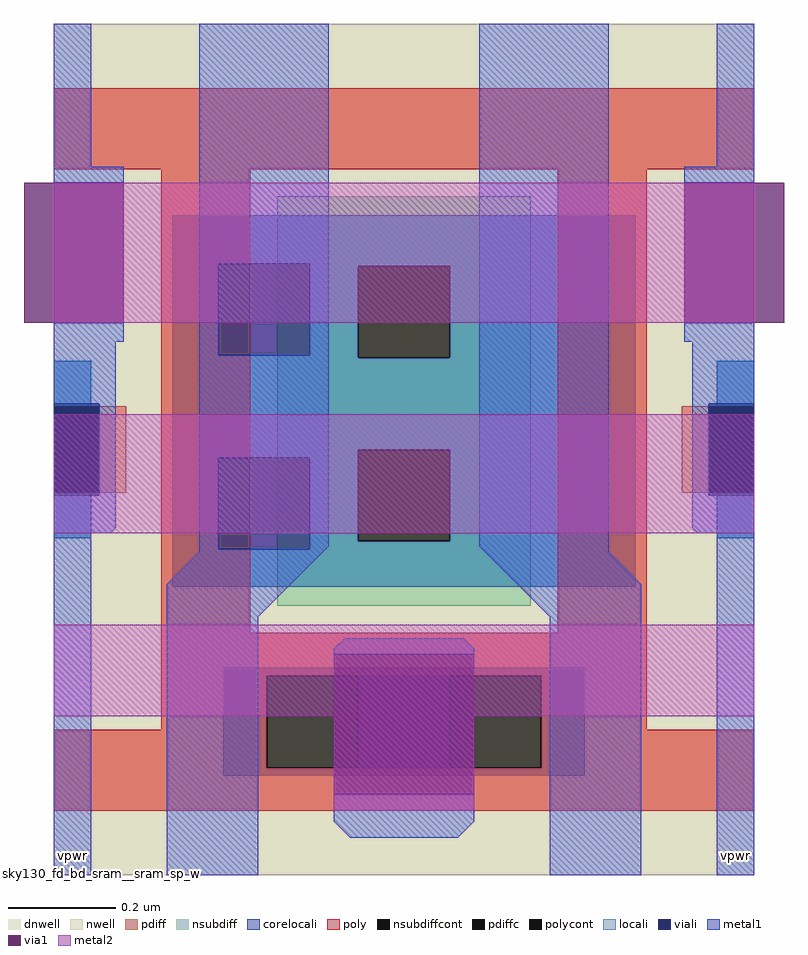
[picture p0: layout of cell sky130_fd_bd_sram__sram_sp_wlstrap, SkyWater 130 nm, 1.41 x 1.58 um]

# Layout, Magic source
magic
tech sky130A
magscale 1 2
<< pdiffc >>
rect 14 142 17 174
rect 243 142 246 174
<< locali >>
rect 0 174 14 175
rect 246 174 260 175
rect 0 141 14 142
rect 246 141 260 142
<< metal1 >>
rect 0 0 14 15
rect 246 0 260 15
use sky130_fd_bd_sram__sram_sp_wlstrap_p1m_siz  sky130_fd_bd_sram__sram_sp_wlstrap_p1m_siz_0
transform 1 0 0 0 1 0
box 0 0 1 1
use sky130_fd_bd_sram__sram_sp_wlstrap_met2  sky130_fd_bd_sram__sram_sp_wlstrap_met2_0
transform 1 0 0 0 1 0
box 0 24 260 257
use sky130_fd_bd_sram__sram_sp_wlstrap_ce  sky130_fd_bd_sram__sram_sp_wlstrap_ce_0
transform 1 0 0 0 1 0
box -11 0 271 316
<< labels >>
flabel metal1 s 0 0 14 15 0 FreeSans 40 90 0 0 vpwr
port 0 nsew
flabel metal1 s 246 0 260 15 0 FreeSans 40 90 0 0 vpwr
port 0 nsew
<< properties >>
string GDS_FILE sky130_fd_bd_sram__sram_sp_wlstrap.gds
string GDS_END 4574
string GDS_START 4098
<< end >>

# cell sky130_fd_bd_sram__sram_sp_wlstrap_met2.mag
magic
tech sky130A
magscale 1 2
<< metal2 >>
rect 0 205 260 257
rect 0 127 260 171
rect 0 59 260 93
rect 104 24 156 59
<< properties >>
string GDS_FILE sky130_fd_bd_sram__sram_sp_wlstrap_met2.gds
string GDS_END 430
string GDS_START 170
<< end >>

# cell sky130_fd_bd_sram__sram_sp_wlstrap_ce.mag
magic
tech sky130A
magscale 1 2
<< dnwell >>
rect 0 0 260 316
<< nwell >>
rect 0 0 260 316
<< pdiff >>
rect 14 142 27 174
rect 233 142 246 174
<< pdiffc >>
rect 0 142 14 174
rect 246 142 260 174
<< nsubdiff >>
rect 83 226 177 252
rect 83 192 113 226
rect 147 192 177 226
rect 83 158 177 192
rect 83 124 113 158
rect 147 124 177 158
rect 83 100 177 124
<< nsubdiffcont >>
rect 113 192 147 226
rect 113 124 147 158
<< poly >>
rect 0 262 260 292
rect 40 90 73 262
rect 187 90 220 262
rect 40 74 220 90
rect 40 54 79 74
rect 0 40 79 54
rect 113 40 147 74
rect 181 54 220 74
rect 181 40 260 54
rect 0 24 260 40
<< polycont >>
rect 79 40 113 74
rect 147 40 181 74
<< corelocali >>
rect 44 227 216 245
rect 44 193 61 227
rect 95 226 216 227
rect 95 193 113 226
rect 44 192 113 193
rect 147 192 216 226
rect 0 175 14 191
rect 44 158 216 192
rect 246 175 260 191
rect 44 155 113 158
rect 0 125 14 141
rect 44 121 61 155
rect 95 124 113 155
rect 147 124 216 158
rect 246 125 260 141
rect 95 121 216 124
rect 44 107 216 121
rect 63 74 197 77
rect 63 40 79 74
rect 181 40 197 74
rect 63 37 197 40
<< viali >>
rect 61 193 95 227
rect 0 174 17 175
rect 0 142 14 174
rect 14 142 17 174
rect 0 141 17 142
rect 61 121 95 155
rect 243 174 260 175
rect 243 142 246 174
rect 246 142 260 174
rect 243 141 260 142
rect 113 40 147 74
<< metal1 >>
rect 0 263 14 316
rect 0 257 26 263
rect 0 198 26 205
rect 54 227 102 316
rect 0 175 23 198
rect 17 141 23 175
rect 0 129 23 141
rect 0 127 21 129
tri 21 127 23 129 nw
rect 54 193 61 227
rect 95 193 102 227
rect 54 155 102 193
rect 0 0 14 127
rect 54 121 61 155
rect 95 122 102 155
rect 95 121 100 122
rect 54 120 100 121
tri 100 120 102 122 nw
rect 158 122 206 316
rect 246 263 260 316
rect 234 257 260 263
rect 234 198 260 205
rect 237 175 260 198
rect 237 141 243 175
rect 237 129 260 141
tri 237 127 239 129 ne
rect 239 127 260 129
tri 158 120 160 122 ne
rect 160 120 206 122
tri 42 108 54 120 se
rect 54 108 88 120
tri 88 108 100 120 nw
tri 160 108 172 120 ne
rect 172 108 206 120
tri 206 108 218 120 sw
rect 42 0 76 108
tri 76 96 88 108 nw
tri 172 96 184 108 ne
tri 104 84 108 88 se
rect 108 84 152 88
tri 152 84 156 88 sw
rect 104 82 156 84
rect 104 20 156 30
tri 104 14 110 20 ne
rect 110 14 150 20
tri 150 14 156 20 nw
rect 184 0 218 108
rect 246 0 260 127
<< via1 >>
rect -11 205 26 257
rect 234 205 271 257
rect 104 74 156 82
rect 104 40 113 74
rect 113 40 147 74
rect 147 40 156 74
rect 104 30 156 40
<< properties >>
string GDS_FILE sky130_fd_bd_sram__sram_sp_wlstrap_ce.gds
string GDS_END 3370
string GDS_START 166
<< end >>
